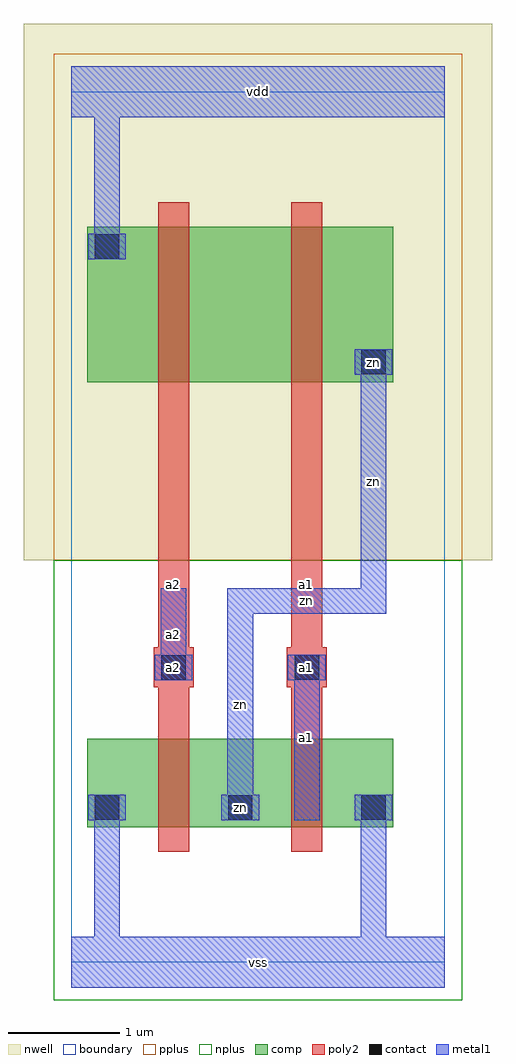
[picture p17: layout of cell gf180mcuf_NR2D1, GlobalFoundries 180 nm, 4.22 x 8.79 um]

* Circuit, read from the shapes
.subckt gf180mcuf_NR2D1 a1 a2 vdd vss zn
XM1 zn a2 vss VSUBS nfet_03v3 w=0.8u l=0.28u
XM2 vss a1 zn VSUBS nfet_03v3 w=0.8u l=0.28u
XM3 n1 a2 vdd n2 pfet_03v3 w=1.4u l=0.28u
XM4 zn a1 n1 n2 pfet_03v3 w=1.4u l=0.28u
.ends

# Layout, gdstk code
import gdstk
lib = gdstk.Library(unit=1e-6, precision=1e-09)
def R(c, l, rs):  # rectangles x0, y0, x1, y1
    for r in rs: c.add(gdstk.rectangle(r[:2], r[2:], *l))
def A(c, l, x, y, w, h, nx, ny, dx, dy):  # array of equal rectangles
    R(c, l, [(x+i*dx, y+j*dy, x+i*dx+w, y+j*dy+h) for i in range(nx) for j in range(ny)])
boundary = (0, 0)
nwell = (21, 0)
comp = (22, 0)
poly2 = (30, 0)
pplus = (31, 0)
nplus = (32, 0)
contact = (33, 0)
metal1 = (34, 0)

gf180mcuf_nr2d1 = lib.new_cell('gf180mcuf_NR2D1')
R(gf180mcuf_nr2d1, boundary, [(0,0,3.36,7.84)])
R(gf180mcuf_nr2d1, nwell, [(-0.43,3.62,3.79,8.45)])
A(gf180mcuf_nr2d1, comp, 0.14, 1.215, 0.36, 0.36, 3, 1, 1.2, 0)
R(gf180mcuf_nr2d1, comp, [(0.14,1.215,1.7,2.015), (1.34,1.215,2.9,2.015), (0.14,5.225,1.7,6.625), (1.34,5.225,2.9,6.625), (2.54,5.225,2.9,5.585), (0.14,6.265,0.5,6.625)])
R(gf180mcuf_nr2d1, poly2, [(0.78,0.995,1.06,2.235), (1.98,0.995,2.26,2.235), (0.78,1.255,1.06,5.545), (1.98,1.255,2.26,5.545), (0.74,2.475,1.1,2.835), (1.94,2.475,2.3,2.835), (0.78,5.005,1.06,6.845), (1.98,5.005,2.26,6.845)])
R(gf180mcuf_nr2d1, pplus, [(-0.16,3.62,3.52,7.5), (-0.16,7.5,3.52,8.18)])
R(gf180mcuf_nr2d1, nplus, [(-0.16,-0.34,3.52,0.34), (-0.16,0.34,3.52,3.62)])
A(gf180mcuf_nr2d1, contact, 0.21, 1.285, 0.22, 0.22, 3, 1, 1.2, 0)
R(gf180mcuf_nr2d1, contact, [(0.81,2.545,1.03,2.765), (2.01,2.545,2.23,2.765), (2.61,5.295,2.83,5.515), (0.21,6.335,0.43,6.555)])
A(gf180mcuf_nr2d1, metal1, 0.15, 1.28, 0.34, 0.23, 3, 1, 1.2, 0)
R(gf180mcuf_nr2d1, metal1, [(0,-0.23,3.36,0.23), (0.205,0.065,0.435,1.51), (2.605,0.065,2.835,1.51), (1.405,1.28,1.635,3.37), (2.005,1.28,2.235,2.77), (0.75,2.54,1.09,2.77), (0.805,2.54,1.035,3.37), (1.95,2.54,2.29,2.77), (1.405,3.14,2.835,3.37), (2.605,3.14,2.835,5.52), (2.55,5.29,2.89,5.52), (0.15,6.33,0.49,6.56), (0.205,6.33,0.435,7.775), (0,7.61,3.36,8.07)])
gf180mcuf_nr2d1.add(gdstk.FlexPath([(0.14,0.575),(2.9,0.575)], 0, ends="flush", simple_path=True, layer=0, datatype=0))  # boundary
gf180mcuf_nr2d1.add(gdstk.FlexPath([(0.14,1.395),(2.9,1.395)], 0, ends="flush", simple_path=True, layer=0, datatype=0))  # boundary
gf180mcuf_nr2d1.add(gdstk.FlexPath([(0.14,2.655),(2.9,2.655)], 0, ends="flush", simple_path=True, layer=0, datatype=0))  # boundary
gf180mcuf_nr2d1.add(gdstk.FlexPath([(0.14,3.255),(2.9,3.255)], 0, ends="flush", simple_path=True, layer=0, datatype=0))  # boundary
gf180mcuf_nr2d1.add(gdstk.FlexPath([(0.14,3.855),(2.9,3.855)], 0, ends="flush", simple_path=True, layer=0, datatype=0))  # boundary
gf180mcuf_nr2d1.add(gdstk.FlexPath([(0.14,4.455),(2.9,4.455)], 0, ends="flush", simple_path=True, layer=0, datatype=0))  # boundary
gf180mcuf_nr2d1.add(gdstk.FlexPath([(0.14,5.405),(2.9,5.405)], 0, ends="flush", simple_path=True, layer=0, datatype=0))  # boundary
gf180mcuf_nr2d1.add(gdstk.FlexPath([(0.14,6.445),(2.9,6.445)], 0, ends="flush", simple_path=True, layer=0, datatype=0))  # boundary
gf180mcuf_nr2d1.add(gdstk.FlexPath([(0.14,7.265),(2.9,7.265)], 0, ends="flush", simple_path=True, layer=0, datatype=0))  # boundary
gf180mcuf_nr2d1.add(gdstk.FlexPath([(0.32,0.065),(0.32,7.775)], 0, ends="flush", simple_path=True, layer=0, datatype=0))  # boundary
gf180mcuf_nr2d1.add(gdstk.FlexPath([(0.92,0.065),(0.92,7.775)], 0, ends="flush", simple_path=True, layer=0, datatype=0))  # boundary
gf180mcuf_nr2d1.add(gdstk.FlexPath([(1.52,0.065),(1.52,7.775)], 0, ends="flush", simple_path=True, layer=0, datatype=0))  # boundary
gf180mcuf_nr2d1.add(gdstk.FlexPath([(2.12,0.065),(2.12,7.775)], 0, ends="flush", simple_path=True, layer=0, datatype=0))  # boundary
gf180mcuf_nr2d1.add(gdstk.FlexPath([(2.72,0.065),(2.72,7.775)], 0, ends="flush", simple_path=True, layer=0, datatype=0))  # boundary
gf180mcuf_nr2d1.add(gdstk.Label('zn', (1.52,1.395), layer=22, texttype=0))
gf180mcuf_nr2d1.add(gdstk.Label('zn', (2.72,5.405), layer=22, texttype=0))
gf180mcuf_nr2d1.add(gdstk.Label('a1', (2.12,3.4), layer=30, texttype=0))
gf180mcuf_nr2d1.add(gdstk.Label('a1', (2.12,2.655), layer=30, texttype=0))
gf180mcuf_nr2d1.add(gdstk.Label('a2', (0.92,3.4), layer=30, texttype=0))
gf180mcuf_nr2d1.add(gdstk.Label('a2', (0.92,2.655), layer=30, texttype=0))
gf180mcuf_nr2d1.add(gdstk.Label('zn', (1.52,1.395), layer=33, texttype=0))
gf180mcuf_nr2d1.add(gdstk.Label('zn', (2.72,5.405), layer=33, texttype=0))
gf180mcuf_nr2d1.add(gdstk.Label('a1', (2.12,2.655), layer=33, texttype=0))
gf180mcuf_nr2d1.add(gdstk.Label('a2', (0.92,2.655), layer=33, texttype=0))
gf180mcuf_nr2d1.add(gdstk.Label('zn', (1.52,1.395), layer=34, texttype=10))
gf180mcuf_nr2d1.add(gdstk.Label('zn', (2.72,5.405), layer=34, texttype=10))
gf180mcuf_nr2d1.add(gdstk.Label('zn', (1.52,2.325), layer=34, texttype=10))
gf180mcuf_nr2d1.add(gdstk.Label('zn', (2.12,3.255), layer=34, texttype=10))
gf180mcuf_nr2d1.add(gdstk.Label('zn', (2.72,4.33), layer=34, texttype=10))
gf180mcuf_nr2d1.add(gdstk.Label('a1', (2.12,2.655), layer=34, texttype=10))
gf180mcuf_nr2d1.add(gdstk.Label('a1', (2.12,2.025), layer=34, texttype=10))
gf180mcuf_nr2d1.add(gdstk.Label('a2', (0.92,2.655), layer=34, texttype=10))
gf180mcuf_nr2d1.add(gdstk.Label('a2', (0.92,2.955), layer=34, texttype=10))
gf180mcuf_nr2d1.add(gdstk.Label('vss', (1.68,0), layer=34, texttype=10))
gf180mcuf_nr2d1.add(gdstk.Label('vdd', (1.68,7.84), layer=34, texttype=10))

lib.write_gds('gf180mcuf_NR2D1.gds')
